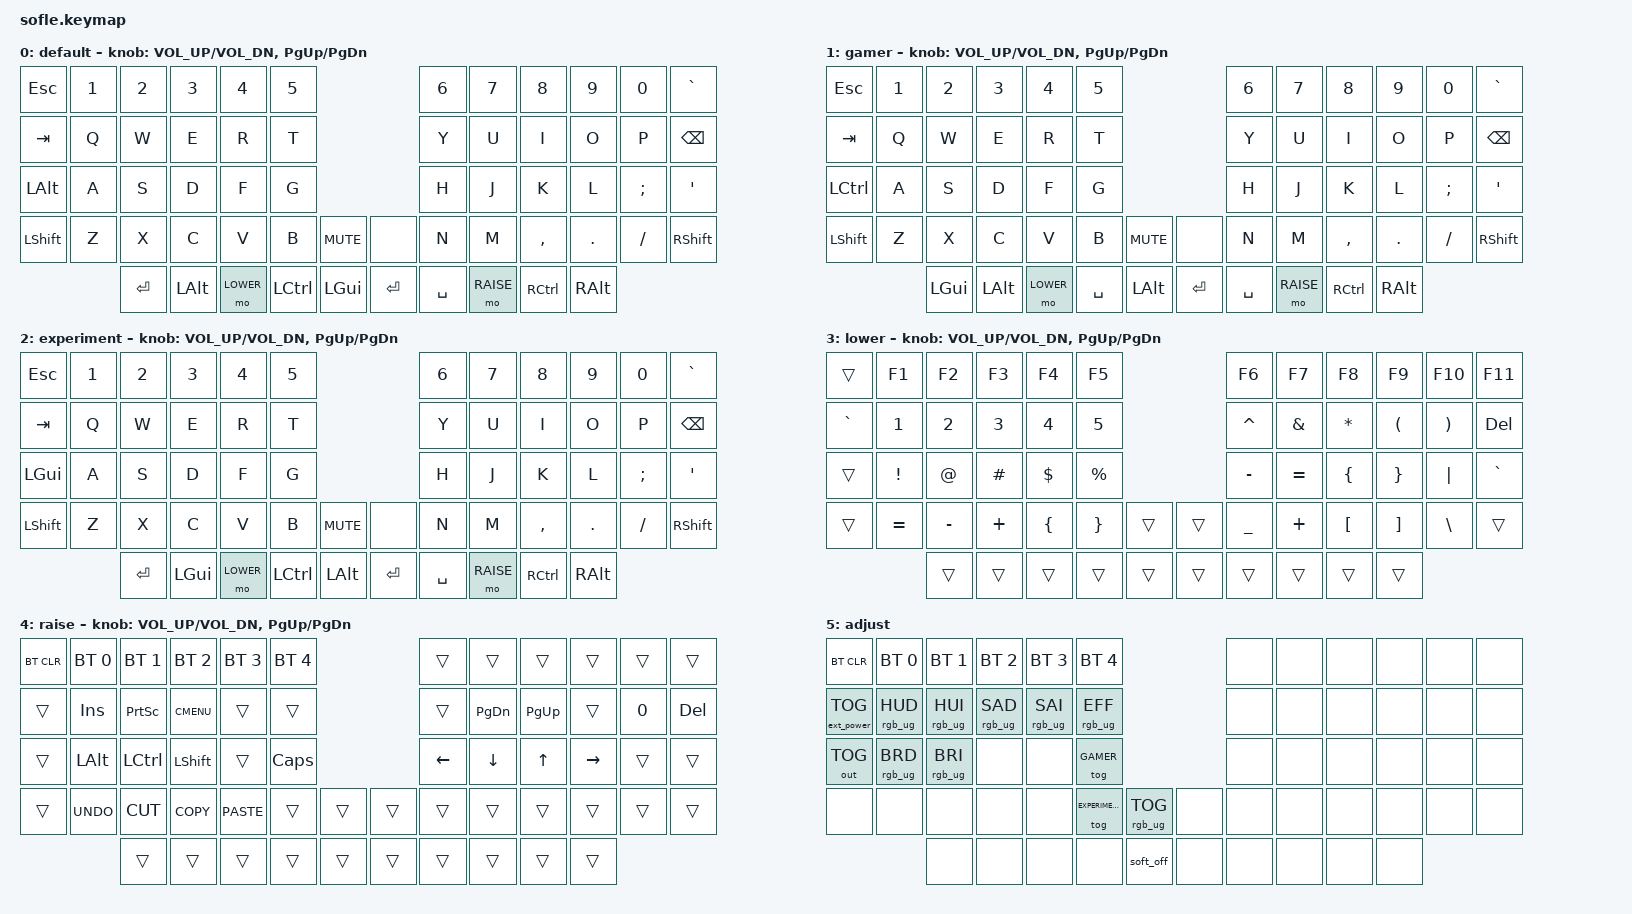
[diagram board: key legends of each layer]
/*
 * Copyright (c) 2020 The ZMK Contributors
 *
 * SPDX-License-Identifier: MIT
 */

#include <behaviors.dtsi>
#include <dt-bindings/zmk/keys.h>
#include <dt-bindings/zmk/bt.h>
#include <dt-bindings/zmk/rgb.h>
#include <dt-bindings/zmk/ext_power.h>
#include <dt-bindings/zmk/outputs.h>

#define BASE 0
#define GAMER 1
#define EXPERIMENTAL 2
#define LOWER 3
#define RAISE 4
#define ADJUST 5

/ {

   // Activate ADJUST layer by pressing raise and lower
    conditional_layers {
        compatible = "zmk,conditional-layers";
        adjust_layer {
            if-layers = <LOWER RAISE>;
            then-layer = <ADJUST>;
        };
    };

    keymap {
        compatible = "zmk,keymap";

        default_layer {
            display-name = "default";
// ------------------------------------------------------------------------------------------------------------
// |  ESC  |  1  |  2  |  3   |  4   |  5   |                   |  6   |  7    |  8    |  9   |   0   |   `   |
// |  TAB  |  Q  |  W  |  E   |  R   |  T   |                   |  Y   |  U    |  I    |  O   |   P   | BKSPC |
// |  ALT |  A  |  S  |  D   |  F   |  G   |                   |  H   |  J    |  K    |  L   |   ;   |   '   |
// | SHIFT |  Z  |  X  |  C   |  V   |  B   |  MUTE  |  |       |  N   |  M    |  ,    |  .   |   /   | SHIFT |
//               | Enter | ALT  | LOWER | CTRL|  GUI |  | ENTER | SPACE| RAISE  | CTRL   | ALT  |
            bindings = <
&kp ESC  &kp N1 &kp N2   &kp N3   &kp N4    &kp N5                           &kp N6 &kp N7    &kp N8    &kp N9   &kp N0   &kp GRAVE
&kp TAB   &kp Q  &kp W    &kp E    &kp R     &kp T                            &kp Y  &kp U     &kp I     &kp O    &kp P    &kp BSPC
&kp LALT  &kp A  &kp S    &kp D    &kp F     &kp G                            &kp H  &kp J     &kp K     &kp L    &kp SEMI &kp SQT
&kp LSHFT &kp Z  &kp X    &kp C    &kp V     &kp B      &kp C_MUTE &none      &kp N  &kp M     &kp COMMA &kp DOT  &kp FSLH &kp RSHFT
                 &kp RET &kp LALT &mo LOWER &kp LCTRL  &kp LGUI    &kp RET  &kp SPACE  &mo RAISE &kp RCTRL  &kp RALT
            >;

            sensor-bindings = <&inc_dec_kp C_VOL_UP C_VOL_DN &inc_dec_kp PG_UP PG_DN>;
        };

        gamer_layer {
            display-name = "gamer";
// ------------------------------------------------------------------------------------------------------------
// |  ESC  |  1  |  2  |  3   |  4   |  5   |                   |  6   |  7    |  8    |  9   |   0   |   `   |
// |  TAB  |  Q  |  W  |  E   |  R   |  T   |                   |  Y   |  U    |  I    |  O   |   P   | BKSPC |
// |  CTRL |  A  |  S  |  D   |  F   |  G   |                   |  H   |  J    |  K    |  L   |   ;   |   '   |
// | SHIFT |  Z  |  X  |  C   |  V   |  B   |  MUTE  |  |       |  N   |  M    |  ,    |  .   |   /   | SHIFT |
//               | GUI | ALT  |LOWER |SPACE |    ALT |  | ENTER | SPACE| RAISE | CTRL  | ALT  |
            bindings = <
&kp ESC  &kp N1 &kp N2   &kp N3   &kp N4    &kp N5                           &kp N6 &kp N7    &kp N8    &kp N9   &kp N0   &kp GRAVE
&kp TAB   &kp Q  &kp W    &kp E    &kp R     &kp T                            &kp Y  &kp U     &kp I     &kp O    &kp P    &kp BSPC
&kp LCTRL  &kp A  &kp S    &kp D    &kp F     &kp G                            &kp H  &kp J     &kp K     &kp L    &kp SEMI &kp SQT
&kp LSHFT &kp Z  &kp X    &kp C    &kp V     &kp B      &kp C_MUTE &none      &kp N  &kp M     &kp COMMA &kp DOT  &kp FSLH &kp RSHFT
                 &kp LGUI &kp LALT &mo LOWER &kp SPACE  &kp LALT    &kp RET  &kp SPACE  &mo RAISE &kp RCTRL  &kp RALT
            >;

            sensor-bindings = <&inc_dec_kp C_VOL_UP C_VOL_DN &inc_dec_kp PG_UP PG_DN>;
        };

        experimental_layer {
            display-name = "experiment";
// ------------------------------------------------------------------------------------------------------------
// |  ESC  |  1  |  2  |  3   |  4   |  5   |                   |  6   |  7    |  8    |  9   |   0   |   `   |
// |  TAB  |  Q  |  W  |  E   |  R   |  T   |                   |  Y   |  U    |  I    |  O   |   P   | BKSPC |
// |  CTRL |  A  |  S  |  D   |  F   |  G   |                   |  H   |  J    |  K    |  L   |   ;   |   '   |
// | SHIFT |  Z  |  X  |  C   |  V   |  B   |  MUTE  |  |       |  N   |  M    |  ,    |  .   |   /   | SHIFT |
//               | Enter | ALT  | LOWER | CTRL|  GUI |  | ENTER | SPACE| RAISE  | CTRL   | ALT  |
            bindings = <
&kp ESC  &kp N1 &kp N2   &kp N3   &kp N4    &kp N5                           &kp N6 &kp N7    &kp N8    &kp N9   &kp N0   &kp GRAVE
&kp TAB   &kp Q  &kp W    &kp E    &kp R     &kp T                            &kp Y  &kp U     &kp I     &kp O    &kp P    &kp BSPC
&kp LGUI  &kp A  &kp S    &kp D    &kp F     &kp G                            &kp H  &kp J     &kp K     &kp L    &kp SEMI &kp SQT
&kp LSHFT &kp Z  &kp X    &kp C    &kp V     &kp B      &kp C_MUTE &none      &kp N  &kp M     &kp COMMA &kp DOT  &kp FSLH &kp RSHFT
                 &kp RET &kp LGUI &mo LOWER &kp LCTRL  &kp LALT    &kp RET  &kp SPACE  &mo RAISE &kp RCTRL  &kp RALT
            >;

            sensor-bindings = <&inc_dec_kp C_VOL_UP C_VOL_DN &inc_dec_kp PG_UP PG_DN>;
        };

        lower_layer {
            display-name = "lower";
// TODO: Some binds are waiting for shifted keycode support.
// ------------------------------------------------------------------------------------------------------------
// |       |  F1 |  F2 |  F3  |  F4  |  F5  |                   |  F6  |  F7   |  F8   |  F9  |  F10  |  F11  |
// |   `   |  1  |  2  |  3   |  4   |  5   |                   |  ^   |  &    |  *    |  (   |   )   |  DEL  |
// |       |  !  |  @  |  #   |  $   |  %   |                   |  -   |  =    |  {    |  }   |   |   |   `   |
// |       |  =  |  -  |  +   |  {   |  }   |        |  |       |  _   |  +    |  [    |  ]   |   \   |       |
//               |     |      |      |      |        |  |       |      |       |       |      |
            bindings = <
&trans    &kp F1    &kp F2    &kp F3      &kp F4    &kp F5                    &kp F6    &kp F7    &kp F8    &kp F9    &kp F10   &kp F11
&kp GRAVE &kp N1    &kp N2    &kp N3      &kp N4    &kp N5                    &kp CARET &kp AMPS  &kp ASTRK &kp LPAR  &kp RPAR  &kp DEL
&trans    &kp EXCL  &kp AT    &kp HASH    &kp DLLR  &kp PRCNT                 &kp MINUS &kp EQUAL &kp LBRC  &kp RBRC  &kp PIPE  &kp GRAVE
&trans    &kp EQUAL &kp MINUS &kp PLUS    &kp LBRC  &kp RBRC   &trans &trans  &kp UNDER &kp PLUS  &kp LBKT  &kp RBKT  &kp BSLH  &trans
                    &trans    &trans      &trans    &trans     &trans &trans  &trans    &trans    &trans    &trans
            >;

            sensor-bindings = <&inc_dec_kp C_VOL_UP C_VOL_DN &inc_dec_kp PG_UP PG_DN>;
        };

        raise_layer {
            display-name = "raise";
// ------------------------------------------------------------------------------------------------------------
// | BTCLR | BT1  | BT2  |  BT3  |  BT4  |  BT5 |                |      |      |       |      |       |       |
// |       | INS  | PSCR | GUI   |       |      |                |      | PGDN | PGUP  |      |       |  DEL  |
// |       | ALT  | CTRL | SHIFT |       | CAPS |                |  <-  |   v  |   ^   |  ->  |       |       |
// |       | UNDO | CUT  | COPY  | PASTE |      |      |  |      |      |      |       |      |       |       |
//                |      |       |       |      |      |  |      |      |      |       |      |
            bindings = <
&bt BT_CLR &bt BT_SEL 0 &bt BT_SEL 1 &bt BT_SEL 2 &bt BT_SEL 3 &bt BT_SEL 4                  &trans    &trans    &trans    &trans    &trans  &trans
&trans     &kp INS      &kp PSCRN    &kp K_CMENU  &trans       &trans                        &trans    &kp PG_DN &kp PG_UP &trans    &kp N0  &kp DEL
&trans     &kp LALT     &kp LCTRL    &kp LSHFT    &trans       &kp CLCK                      &kp LEFT  &kp DOWN  &kp UP    &kp RIGHT &trans  &trans
&trans     &kp K_UNDO   &kp K_CUT    &kp K_COPY   &kp K_PASTE  &trans        &trans  &trans  &trans    &trans    &trans    &trans    &trans  &trans
                        &trans       &trans       &trans       &trans        &trans  &trans  &trans    &trans    &trans    &trans
            >;

            sensor-bindings = <&inc_dec_kp C_VOL_UP C_VOL_DN &inc_dec_kp PG_UP PG_DN>;
        };

        adjust_layer {
// ----------------------------------------------------------------------------------------------------------------------------
// | BTCLR  |  BT1    |  BT2    |   BT3   |   BT4   |   BT5   |                  |      |      |       |      |       |       |
// | EXTPWR | RGB_HUD | RGB_HUI | RGB_SAD | RGB_SAI | RGB_EFF |                  |      |      |       |      |       |       |
// |        | RGB_BRD | RGB_BRI |         |         |  GAMER  |                  |      |      |       |      |       |       |
// |        |         |         |         |         | DEFAULT | RGB_TOG | |      |      |      |       |      |       |       |
//                    |         |         |         |         |         | |      |      |      |       |      |
            display-name = "adjust";
            bindings = <
&bt BT_CLR        &bt BT_SEL 0    &bt BT_SEL 1    &bt BT_SEL 2    &bt BT_SEL 3    &bt BT_SEL 4                            &none &none &none &none &none &none
&ext_power EP_TOG &rgb_ug RGB_HUD &rgb_ug RGB_HUI &rgb_ug RGB_SAD &rgb_ug RGB_SAI &rgb_ug RGB_EFF                         &none &none &none &none &none &none
&out OUT_TOG      &rgb_ug RGB_BRD &rgb_ug RGB_BRI &none           &none           &tog GAMER                                   &none &none &none &none &none &none
&none             &none           &none           &none           &none           &tog EXPERIMENTAL            &rgb_ug RGB_TOG &none  &none &none &none &none &none &none
                                  &none           &none           &none           &none            &soft_off           &none  &none &none &none &none
            >;
        };
    };
};
